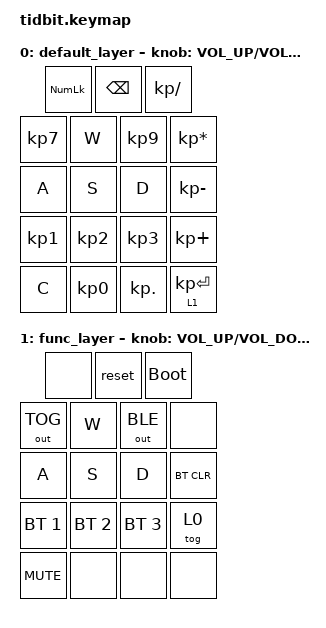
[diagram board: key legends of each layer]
/*
 * Copyright (c) 2020 The ZMK Contributors
 *
 * SPDX-License-Identifier: MIT
 */

#include <behaviors.dtsi>
#include <dt-bindings/zmk/bt.h>
#include <dt-bindings/zmk/outputs.h>
#include <dt-bindings/zmk/keys.h>
#include <dt-bindings/zmk/rgb.h>
#include <dt-bindings/led/led.h>

&encoder_1_top_row {
	status = "okay";
};

/ {
	sensors {
		compatible = "zmk,keymap-sensors";
		sensors = <&encoder_1_top_row>;
	};


	keymap {
		compatible = "zmk,keymap";
		
		default_layer {
			bindings = <
									&kp KP_NUMLOCK  &kp BSPC &kp KP_DIVIDE
				&kp KP_NUMBER_7 &kp W &kp KP_NUMBER_9 &kp KP_ASTERISK
				&kp A 		&kp S &kp D &kp KP_MINUS
				&kp KP_NUMBER_1 &kp KP_NUMBER_2 &kp KP_NUMBER_3 &kp KP_PLUS
				&kp C		&kp KP_NUMBER_0 &kp KP_DOT      &lt 1 KP_ENTER
			>;

			sensor-bindings = <&inc_dec_kp C_VOLUME_UP C_VOLUME_DOWN>;
		};

		 func_layer {
			 bindings = <
								&none           &reset          &bootloader
				&out OUT_TOG    &kp W    &out OUT_BLE    &none
				&kp A    &kp S       &kp D      &bt BT_CLR
				&bt BT_SEL 1    &bt BT_SEL 2    &bt BT_SEL 3    &tog 0
				&kp C_MUTE      &none           &none           &none
			 >;

			 sensor-bindings = <&inc_dec_kp C_VOLUME_UP C_VOLUME_DOWN>;
		 };
	};
};
